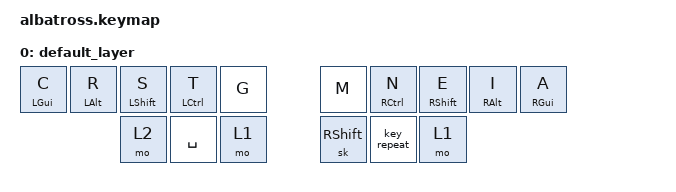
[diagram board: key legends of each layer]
// Copyright (c) 2022 The ZMK Contributors
// SPDX-License-Identifier: MIT

#include <behaviors.dtsi>
#include <dt-bindings/zmk/keys.h>
#include <dt-bindings/zmk/bt.h>
#include <dt-bindings/zmk/outputs.h>

/ {
    behaviors {
        ht: hold_tap {
            compatible = "zmk,behavior-hold-tap";
            #binding-cells = <2>;
            flavor = "tap-preferred";
            tapping-term-ms = <222>;
            quick-tap-ms = <150>;
            require-prior-idle-ms = <100>;
            bindings = <&kp>, <&kp>;
        };

        htt: hold_tap_2 {
            compatible = "zmk,behavior-hold-tap";
            #binding-cells = <2>;
            flavor = "tap-preferred";
            tapping-term-ms = <169>;
            quick-tap-ms = <150>;
            require-prior-idle-ms = <100>;
            bindings = <&kp>, <&kp>;
        };
/*
WOuld like to ahve one shot shift but layer on hold
        st: stick_tap {
            compatible = "zmk,behavior-hold-tap";
            #binding-cells = <2>;
            flavor = "tap-preferred";
            tapping-term-ms = <220>;
            quick-tap-ms = <150>;
            require-prior-idle-ms = <100>;
            bindings = <&sk>, <&mo>;
        };
*/
	// MOD MORPHES
	hycol: hyphen_colon {
	    compatible = "zmk,behavior-mod-morph";
            label = "DASH_COLON";
            #binding-cells = <0>;
            bindings = <&kp MINUS>, <&kp COLON>;
            mods = <(MOD_LSFT|MOD_RSFT)>;
	};

	spcom: special_comma {
	    compatible = "zmk,behavior-mod-morph";
            label = "SPECIAL_COM";
            #binding-cells = <0>;
            bindings = <&kp COMMA>, <&kp QMARK>;
            mods = <(MOD_LSFT|MOD_RSFT)>;
	};

	spdot: special_dot {
	    compatible = "zmk,behavior-mod-morph";
            label = "SPECIAL_DOT";
            #binding-cells = <0>;
            bindings = <&kp DOT>, <&kp EXCL>;
            mods = <(MOD_LSFT|MOD_RSFT)>;
	};
    };// END BEHAVIOURS


    // BEGIN MACROS

    macros {
        // steno-lite macros
            st_the: st_the {
                compatible = "zmk,behavior-macro";
                #binding-cells = <0>;
                bindings
                    = <&macro_tap &kp T &kp H &kp E>
                    ;
            };

        st_ng: st_ng {
                compatible = "zmk,behavior-macro";
                #binding-cells = <0>;
                bindings
                    = <&macro_tap &kp N &kp G>
                    ;
            };


        st_ing: st_ing {
                compatible = "zmk,behavior-macro";
                #binding-cells = <0>;
                bindings
                    = <&macro_tap &kp I &kp N &kp G>
                    ;
            };

        st_dotspacecap: st_dotspacecap {
                compatible = "zmk,behavior-macro";
                #binding-cells = <0>;
                bindings
                    = <&macro_tap &kp DOT &kp SPACE>
                    , <&sk LSHIFT>
                    ;
            };

        st_ly: st_ly {
                compatible = "zmk,behavior-macro";
                #binding-cells = <0>;
                bindings
                    = <&macro_tap &kp L &kp Y>
                    ;
            };

        st_tion: st_tion {
                compatible = "zmk,behavior-macro";
                #binding-cells = <0>;
                bindings
                    = <&macro_tap &kp T &kp I &kp O &kp N>
                    ;
            };
    };// END MACROS

    // START COMBOS

       combos {
        compatible = "zmk,combos";

        combo_esc {
            timeout-ms = <50>;
            key-positions = <11 12 13>;
            bindings = <&kp ESC>;
        };

        combo_enter {
            timeout-ms = <50>;
            key-positions = <17 18 19>;
            bindings = <&kp ENTER>;
        };

        combo_bk {
            timeout-ms = <50>;
            key-positions = <16 17 18>;
            bindings = <&kp BSPC>;
        };

        combo_tab {
            timeout-ms = <50>;
            key-positions = <10 11 12>;
            bindings = <&kp TAB>;
        };

        combo_colon {
            timeout-ms = <50>;
            key-positions = <26 27 28>;
            bindings = <&kp COLON>;
        };

        combo_semi {
            timeout-ms = <50>;
            key-positions = <21 22 23>;
            bindings = <&kp SEMI>;
        };

        combo_del {
            timeout-ms = <50>;
            key-positions = <1 2 3>;
            bindings = <&kp DEL>;
        };

        //TODO make underscore compatible
        combo_capsword {
            timeout-ms = <50>;
            key-positions = <16 7 18>;
            bindings = <&kp DEL>;
        };

        combo_oneshift{
            timeout-ms = <50>;
            key-positions = <15 17>;
            bindings = <&sk LSHIFT>;
        };

        combo_oneshift_left{
            timeout-ms = <50>;
            key-positions = <12 14>;
            bindings = <&sk LSHIFT>;
        };
        
        // CHORDING BOARD TEST
        // Steno-lite
        combo_the {
            timeout-ms = <50>;
            key-positions = <13 16 17>;
            bindings = <&st_the>;
        };

        combo_ng {
            timeout-ms = <50>;
            key-positions = <10 13 16>;
            bindings = <&st_ng>;
        };

        combo_ing {
            timeout-ms = <50>;
            key-positions = <13 16 18>;
            bindings = <&st_ing>;
        };

        combo_dotspacecap {
            timeout-ms = <50>;
            key-positions = <31 32 19>;
            bindings = <&st_dotspacecap>;
        };

        combo_ly {
            timeout-ms = <50>;
            key-positions = <11 13 32>;
            bindings = <&st_ly>;
        };

        combo_tion {
            timeout-ms = <50>;
            key-positions = <13 32>;
            bindings = <&st_ly>;
        };
        
	// --- LETTER COMBOS
        combo_d {
            timeout-ms = <50>;
            key-positions = <13 32>;
            bindings = <&kp D>;
        };

        combo_f {
            timeout-ms = <50>;
            key-positions = <12 16>;
            bindings = <&kp F>;
        };

        combo_b {
            timeout-ms = <50>;
            key-positions = <13 16>;
            bindings = <&kp B>;
        };

        combo_g {
            timeout-ms = <50>;
            key-positions = <10 13>;
            bindings = <&kp G>;
        };

        combo_h {
            timeout-ms = <50>;
            key-positions = <32 16>;
            bindings = <&kp H>;
        };

        combo_j {
            timeout-ms = <50>;
            key-positions = <11 17>;
            bindings = <&kp J>;
        };

        combo_k {
            timeout-ms = <50>;
            key-positions = <13 18>;
            bindings = <&kp K>;
        };

        combo_l {
            timeout-ms = <50>;
            key-positions = <11 12>;
            bindings = <&kp L>;
        };

        combo_m {
            timeout-ms = <50>;
            key-positions = <16 19>;
            bindings = <&kp M>;
        };

        combo_o {
            timeout-ms = <50>;
            key-positions = <16 17>;
            bindings = <&kp O>;
        };

        combo_p {
            timeout-ms = <50>;
            key-positions = <13 17>;
            bindings = <&kp P>;
        };

        combo_q {
            timeout-ms = <50>;
            key-positions = <10 19>;
            bindings = <&kp Q>;
        };

        combo_u {
            timeout-ms = <50>;
            key-positions = <17 18>;
            bindings = <&kp U>;
        };

        combo_v {
            timeout-ms = <50>;
            key-positions = <12 19>;
            bindings = <&kp V>;
        };

        combo_w {
            timeout-ms = <50>;
            key-positions = <10 16>;
            bindings = <&kp W>;
        };

        combo_x {
            timeout-ms = <50>;
            key-positions = <10 18>;
            bindings = <&kp X>;
        };

        combo_y {
            timeout-ms = <50>;
            key-positions = <12 13>;
            bindings = <&kp Y>;
        };

        combo_z {
            timeout-ms = <50>;
            key-positions = <11 19>;
            bindings = <&kp Z>;
        };

            // --Punctuation combos
        combo_comma {
            timeout-ms = <50>;
            key-positions = <11 18>;
            bindings = <&kp D>;
        };

        combo_period {
            timeout-ms = <50>;
            key-positions = <12 17>;
            bindings = <&kp D>;
        };

        combo_siglequote {
            timeout-ms = <50>;
            key-positions = <16 18>;
            bindings = <&kp D>;
        };

        combo_doublequote {
            timeout-ms = <50>;
            key-positions = <11 13>;
            bindings = <&kp D>;
        };

        combo_question_mark {
            timeout-ms = <50>;
            key-positions = <11 12 13>;
            bindings = <&kp D>;
        };

        combo_exclamation {
            timeout-ms = <50>;
            key-positions = <11 12 13>;
            bindings = <&kp D>;
        };



    // Combo ref
    // 0  1  2  3  4      5  6  7  8  9

    }; // END COMBOS


    keymap {
        compatible = "zmk,keymap";
        default_layer {
            bindings = <
         &ht LGUI C &ht LALT R &ht LSHFT S  &ht LCTRL T  &kp G               &kp M        &ht RCTRL N  &ht RSHFT E  &ht RALT I  &ht RGUI A
                               &mo 2        &kp SPACE    &mo 1               &sk RSHFT    &key_repeat  &mo 1
            >;
        };
    };
};
